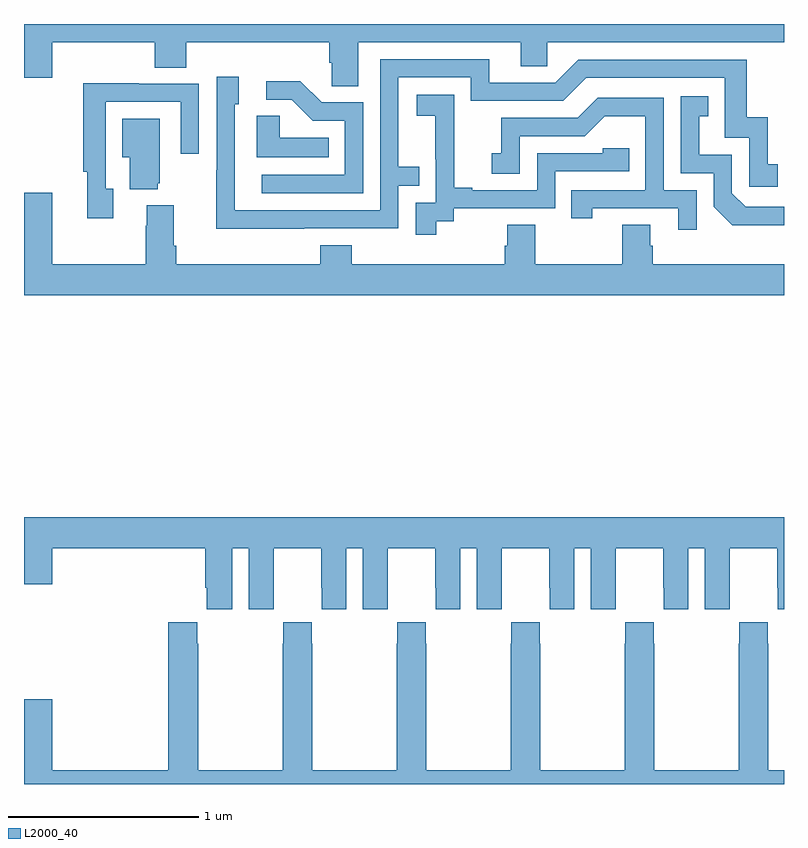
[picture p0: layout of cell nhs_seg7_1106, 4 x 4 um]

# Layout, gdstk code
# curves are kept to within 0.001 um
import gdstk
lib = gdstk.Library(unit=1e-6, precision=1e-09)
def P(c, l, *ps):  # polygons
    for p in ps: c.add(gdstk.Polygon(p, *l))
L2000_40 = (2000, 40)

nhs_seg7_1106 = lib.new_cell('nhs_seg7_1106')
P(nhs_seg7_1106, L2000_40, [(190.759,1045.904),(191.615,1045.904),(191.615,1045.777),(191.754,1045.777),(191.754,1045.904),(193,1045.904),(193,1046),(189,1046),(189,1045.716),(189.148,1045.716),(189.148,1045.904),(189.689,1045.904),(189.689,1045.771),(189.854,1045.771),(189.854,1045.904),(190.607,1045.904),(190.607,1045.795),(190.62,1045.795),(190.62,1045.672),(190.759,1045.672)],
  [(190.475,1044.924),(190.971,1044.924),(190.971,1045.149),(191.081,1045.149),(191.081,1045.25),(190.971,1045.25),(190.971,1045.719),(191.352,1045.719),(191.352,1045.596),(191.838,1045.596),(191.958,1045.716),(192.687,1045.716),(192.687,1045.401),(192.816,1045.401),(192.816,1045.143),(192.967,1045.143),(192.967,1045.263),(192.914,1045.263),(192.914,1045.51),(192.803,1045.51),(192.803,1045.812),(191.916,1045.812),(191.796,1045.692),(191.449,1045.692),(191.449,1045.815),(190.875,1045.815),(190.875,1045.02),(190.11,1045.02),(190.11,1045.578),(190.129,1045.578),(190.129,1045.723),(190.014,1045.723),(190.014,1045.229),(190.012,1045.229),(190.012,1044.923)],
  [(190.785,1045.587),(190.566,1045.587),(190.453,1045.7),(190.275,1045.7),(190.275,1045.602),(190.409,1045.602),(190.52,1045.491),(190.689,1045.491),(190.689,1045.206),(190.251,1045.206),(190.251,1045.11),(190.785,1045.11)],
  [(189.469,1045.134),(189.429,1045.134),(189.429,1045.59),(189.825,1045.59),(189.825,1045.317),(189.921,1045.317),(189.921,1045.686),(189.605,1045.686),(189.605,1045.688),(189.313,1045.688),(189.313,1045.222),(189.332,1045.222),(189.332,1044.978),(189.469,1044.978)],
  [(191.17,1044.961),(191.262,1044.961),(191.262,1045.029),(191.796,1045.029),(191.796,1045.224),(192.185,1045.224),(192.185,1045.347),(192.045,1045.347),(192.045,1045.32),(191.7,1045.32),(191.7,1045.125),(191.359,1045.125),(191.359,1045.138),(191.264,1045.138),(191.264,1045.421),(191.265,1045.421),(191.265,1045.627),(191.067,1045.627),(191.067,1045.517),(191.165,1045.517),(191.165,1045.289),(191.166,1045.289),(191.166,1045.059),(191.061,1045.059),(191.061,1044.891),(191.17,1044.891)],
  [(193,1045.038),(192.798,1045.038),(192.726,1045.11),(192.726,1045.311),(192.553,1045.311),(192.553,1045.515),(192.602,1045.515),(192.602,1045.621),(192.456,1045.621),(192.456,1045.215),(192.63,1045.215),(192.63,1045.038),(192.728,1044.941),(193,1044.941)],
  [(192.54,1045.125),(192.366,1045.125),(192.366,1045.611),(192.02,1045.611),(191.915,1045.506),(191.512,1045.506),(191.512,1045.321),(191.463,1045.321),(191.463,1045.212),(191.61,1045.212),(191.61,1045.41),(191.952,1045.41),(192.056,1045.514),(192.27,1045.514),(192.27,1045.125),(191.881,1045.125),(191.881,1044.978),(191.992,1044.978),(191.992,1045.029),(192.443,1045.029),(192.443,1044.918),(192.54,1044.918)],
  [(190.604,1045.402),(190.347,1045.402),(190.347,1045.517),(190.226,1045.517),(190.226,1045.298),(190.604,1045.298)],
  [(189.704,1045.161),(189.715,1045.161),(189.715,1045.501),(189.518,1045.501),(189.518,1045.298),(189.557,1045.298),(189.557,1045.13),(189.704,1045.13)],
  [(193,1044.736),(192.308,1044.736),(192.308,1044.834),(192.295,1044.834),(192.295,1044.944),(192.148,1044.944),(192.148,1044.736),(191.691,1044.736),(191.691,1044.944),(191.543,1044.944),(191.543,1044.834),(191.531,1044.834),(191.531,1044.736),(190.724,1044.736),(190.724,1044.835),(190.559,1044.835),(190.559,1044.736),(189.8,1044.736),(189.8,1044.832),(189.787,1044.832),(189.787,1045.045),(189.647,1045.045),(189.647,1044.938),(189.64,1044.938),(189.64,1044.736),(189.148,1044.736),(189.148,1045.111),(189,1045.111),(189,1044.572),(193,1044.572)],
  [(189,1043.052),(189.148,1043.052),(189.148,1043.24),(189.953,1043.24),(189.953,1043.032),(189.962,1043.032),(189.962,1042.92),(190.096,1042.92),(190.096,1043.24),(190.184,1043.24),(190.184,1042.92),(190.314,1042.92),(190.314,1043.032),(190.315,1043.032),(190.315,1043.24),(190.565,1043.24),(190.565,1043.032),(190.566,1043.032),(190.566,1042.92),(190.696,1042.92),(190.696,1043.24),(190.784,1043.24),(190.784,1042.92),(190.914,1042.92),(190.914,1043.032),(190.915,1043.032),(190.915,1043.24),(191.165,1043.24),(191.165,1043.032),(191.166,1043.032),(191.166,1042.92),(191.296,1042.92),(191.296,1043.24),(191.384,1043.24),(191.384,1042.92),(191.514,1042.92),(191.514,1043.032),(191.515,1043.032),(191.515,1043.24),(191.765,1043.24),(191.765,1043.032),(191.766,1043.032),(191.766,1042.92),(191.896,1042.92),(191.896,1043.24),(191.984,1043.24),(191.984,1042.92),(192.114,1042.92),(192.114,1043.032),(192.115,1043.032),(192.115,1043.24),(192.365,1043.24),(192.365,1043.032),(192.366,1043.032),(192.366,1042.92),(192.496,1042.92),(192.496,1043.24),(192.584,1043.24),(192.584,1042.92),(192.714,1042.92),(192.714,1043.032),(192.715,1043.032),(192.715,1043.24),(192.965,1043.24),(192.965,1043.032),(192.966,1043.032),(192.966,1042.92),(193,1042.92),(193,1043.404),(189,1043.404)],
  [(193,1042.072),(192.918,1042.072),(192.918,1042.739),(192.915,1042.739),(192.915,1042.852),(192.765,1042.852),(192.765,1042.739),(192.763,1042.739),(192.763,1042.072),(192.318,1042.072),(192.318,1042.739),(192.315,1042.739),(192.315,1042.852),(192.165,1042.852),(192.165,1042.739),(192.163,1042.739),(192.163,1042.072),(191.718,1042.072),(191.718,1042.739),(191.715,1042.739),(191.715,1042.852),(191.565,1042.852),(191.565,1042.739),(191.563,1042.739),(191.563,1042.072),(191.118,1042.072),(191.118,1042.739),(191.115,1042.739),(191.115,1042.852),(190.965,1042.852),(190.965,1042.739),(190.963,1042.739),(190.963,1042.072),(190.518,1042.072),(190.518,1042.739),(190.515,1042.739),(190.515,1042.852),(190.365,1042.852),(190.365,1042.739),(190.363,1042.739),(190.363,1042.072),(189.918,1042.072),(189.918,1042.739),(189.911,1042.739),(189.911,1042.852),(189.758,1042.852),(189.758,1042.072),(189.148,1042.072),(189.148,1042.447),(189,1042.447),(189,1042),(193,1042)])

lib.write_gds('nhs_seg7_1106.gds')
